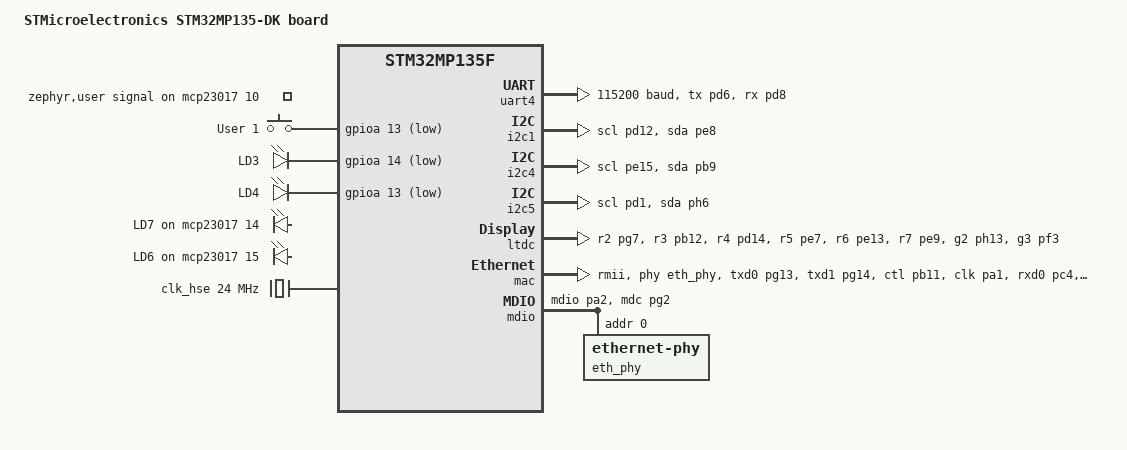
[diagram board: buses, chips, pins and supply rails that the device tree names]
/*
 * Copyright (c) 2025 STMicroelectronics
 *
 * SPDX-License-Identifier: Apache-2.0
 */

/dts-v1/;

#include <st/mp13/stm32mp135.dtsi>
#include <st/mp13/stm32mp135faex-pinctrl.dtsi>
#include "zephyr/dt-bindings/display/panel.h"
#include <zephyr/dt-bindings/input/input-event-codes.h>

/ {
	model = "STMicroelectronics STM32MP135-DK board";
	compatible = "st,stm32mp135f-dk";

	chosen {
		zephyr,flash = &ddr_code;
		zephyr,sram = &ddr_data;
		zephyr,console = &uart4;
		zephyr,shell-uart = &uart4;
		zephyr,display = &ltdc;
	};

	zephyr,user {
		signal-gpios = <&mcp23017 10 GPIO_ACTIVE_HIGH>;
	};

	gpio_keys {
		compatible = "gpio-keys";

		user_button: button {
			label = "User 1";
			gpios = <&gpioa 13 GPIO_ACTIVE_LOW>;
			zephyr,code = <INPUT_KEY_0>;
		};
	};

	leds {
		compatible = "gpio-leds";

		blue_led_1: led_1 {
			gpios = <&gpioa 14 GPIO_ACTIVE_LOW>;
			label = "LD3";
		};

		red_led_2: led_2 {
			gpios = <&gpioa 13 GPIO_ACTIVE_LOW>;
			label = "LD4";
		};

		green_led_3: led_3 {
			gpios = <&mcp23017 14 GPIO_ACTIVE_HIGH>;
			label = "LD7";
		};

		orange_led_4: led_4 {
			gpios = <&mcp23017 15 GPIO_ACTIVE_HIGH>;
			label = "LD6";
		};
	};

	aliases {
		led0 = &blue_led_1;
		led1 = &red_led_2;
		sw0 = &user_button;
	};
};

&clk_hsi {
	clock-frequency = <DT_FREQ_M(64)>;
	status = "okay";
};

&clk_hse {
	clock-frequency = <DT_FREQ_M(24)>;
	status = "okay";
};

&cpusw {
	clocks = <&clk_hsi>;
	clock-frequency = <DT_FREQ_M(64)>;
	status = "okay";
};

&pll1 {
	clocks = <&clk_hse>;
	div-m = <2>;
	mul-n = <83>;
	div-p = <1>;
	fracn = <2730>;
	status = "okay";
};

&pll4 {
	clocks = <&clk_hsi>;
	div-m = <2>;
	mul-n = <50>;
	div-p = <12>;
	div-q = <60>;
	div-r = <6>;
	fracn = <0>;
	status = "okay";
};

&rcc {
	clock-frequency = <DT_FREQ_M(1000)>;
	clocks = <&pll &pll4>;
	//ahb-prescaler = <1>;
	//apb1-prescaler = <1>;
	//apb2-prescaler = <1>;
	ahb6-prescaler = <1>;
};

&uart4 {
	pinctrl-names = "default";
	pinctrl-0 = <&uart4_tx_pd6 &uart4_rx_pd8>;
	current-speed = <115200>;
	status = "okay";
};

&i2c1 {
	pinctrl-names = "default";
	pinctrl-0 = <&i2c1_scl_pd12 &i2c1_sda_pe8>;
	status = "okay";

	mcp23017: pinctrl@21 {
		compatible = "microchip,mcp23017";
		reg = <0x21>;
		gpio-controller;
		#gpio-cells = <2>;
		ngpios = <16>;
	};
};

&i2c4 {
	pinctrl-names = "default";
	pinctrl-0 = <&i2c4_scl_pe15 &i2c4_sda_pb9>;
	status = "okay";
};

&i2c5 {
	pinctrl-names = "default";
	pinctrl-0 = <&i2c5_scl_pd1 &i2c5_sda_ph6>;
	status = "okay";
};

&ltdc {
	pinctrl-0 = <&ltdc_r2_pg7 &ltdc_r3_pb12
			&ltdc_r4_pd14 &ltdc_r5_pe7 &ltdc_r6_pe13 &ltdc_r7_pe9
			&ltdc_g2_ph13 &ltdc_g3_pf3
			&ltdc_g4_pd5 &ltdc_g5_pg0 &ltdc_g6_pc7 &ltdc_g7_pa15
			&ltdc_b2_pd10 &ltdc_b3_pf2
			&ltdc_b4_ph14 &ltdc_b5_pe0 &ltdc_b6_pb6 &ltdc_b7_pf1
			&ltdc_de_ph9 &ltdc_clk_pd9 &ltdc_hsync_pc6 &ltdc_vsync_pg4>;
	pinctrl-names = "default";
	disp-on-gpios = <&gpioi 7 GPIO_ACTIVE_HIGH>;
	bl-ctrl-gpios = <&gpioe 12 GPIO_ACTIVE_HIGH>;

	status = "okay";

	width = <480>;
	height = <272>;
	pixel-format = <PANEL_PIXEL_FORMAT_RGB_565>;

	display-timings {
		compatible = "zephyr,panel-timing";
		de-active = <0>;
		pixelclk-active = <0>;
		hsync-active = <0>;
		vsync-active = <0>;
		hsync-len = <41>;
		vsync-len = <10>;
		hback-porch = <13>;
		vback-porch = <2>;
		hfront-porch = <32>;
		vfront-porch = <2>;
	};

	def-back-color-red = <0xFF>;
	def-back-color-green = <0xFF>;
	def-back-color-blue = <0xFF>;
};

&mac {
	status = "okay";
	pinctrl-0 = <&eth1_txd0_pg13
		     &eth1_txd1_pg14
		     &eth1_tx_ctl_pb11
		     &eth1_ref_clk_pa1
		     &eth1_rxd0_pc4
		     &eth1_rxd1_pc5
		     &eth1_crs_dv_pc1>;
	pinctrl-names = "default";
	phy-connection-type = "rmii";
	phy-handle = <&eth_phy>;
};

&mdio {
	status = "okay";
	pinctrl-0 = <&eth1_mdio_pa2 &eth1_mdc_pg2>;
	pinctrl-names = "default";

	eth_phy: ethernet-phy@1 {
		//compatible = "microchip,lan8742";
		compatible = "ethernet-phy";
		reg = <0>;
		/**
		 * PD3 can be used as alternate function ETH1_PHY_INTN,
		 * which allows the Ethernet MAC to sense interrupts from
		 * the PHY in order to signal them to the CPU via its own
		 * interrupt lines. However, the Zephyr RTL8211F driver
		 * is unaware of this mechanism. Skip configuring PD3 as
		 * alternate function (in pinctrl of &mac) and provide the
		 * pin to the RTL8211F driver for interrupt sensing using
		 * the regular GPIO interrupt APIs.
		 */
		//int-gpios = <&gpiog 12 (GPIO_ACTIVE_LOW | GPIO_PULL_UP)>;

		//reset-gpios = <&mcp23017 9 GPIO_ACTIVE_LOW>;
	};
};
